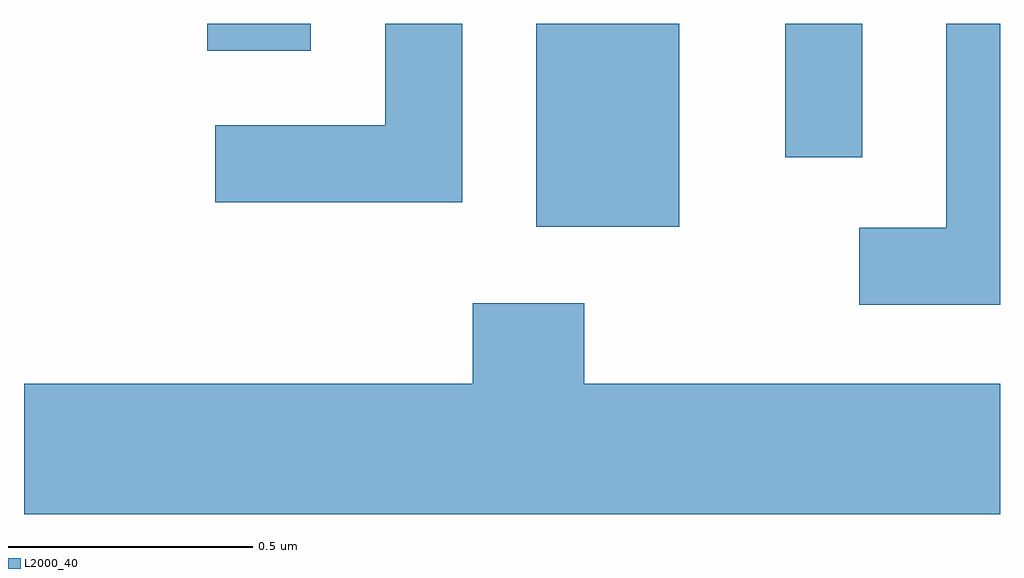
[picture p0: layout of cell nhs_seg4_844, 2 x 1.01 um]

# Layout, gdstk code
import gdstk
lib = gdstk.Library(unit=1e-6, precision=1e-09)
def R(c, l, rs):  # rectangles x0, y0, x1, y1
    for r in rs: c.add(gdstk.rectangle(r[:2], r[2:], *l))
def P(c, l, *ps):  # polygons
    for p in ps: c.add(gdstk.Polygon(p, *l))
L2000_40 = (2000, 40)

nhs_seg4_844 = lib.new_cell('nhs_seg4_844')
R(nhs_seg4_844, L2000_40, [(192.661,1277.566,192.954,1277.982), (193.171,1277.708,193.329,1277.982), (191.986,1277.926,192.199,1277.982)])
P(nhs_seg4_844, L2000_40, [(193.611,1277.982),(193.501,1277.982),(193.501,1277.564),(193.323,1277.564),(193.323,1277.406),(193.611,1277.406)],
  [(192.509,1277.982),(192.351,1277.982),(192.351,1277.774),(192.003,1277.774),(192.003,1277.616),(192.509,1277.616)],
  [(193.611,1277.244),(192.759,1277.244),(192.759,1277.409),(192.531,1277.409),(192.531,1277.244),(191.611,1277.244),(191.611,1276.976),(193.611,1276.976)])

lib.write_gds('nhs_seg4_844.gds')
